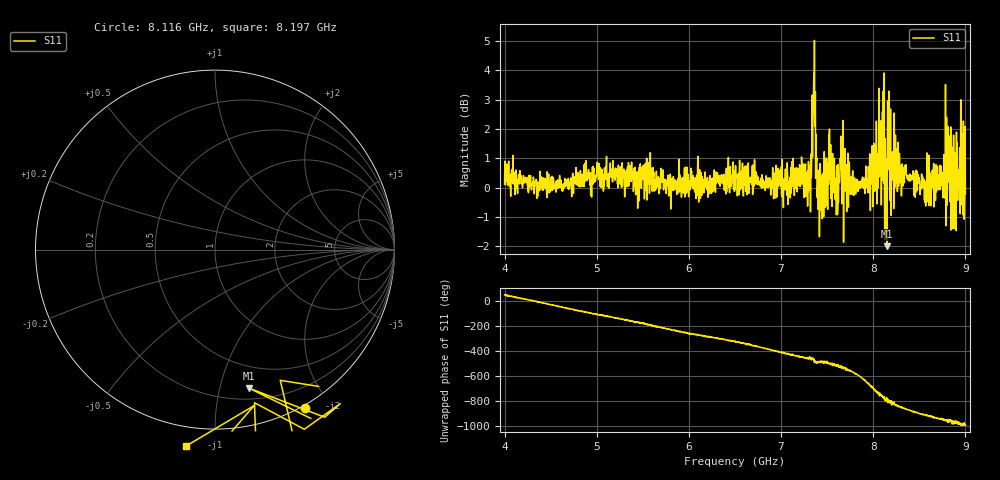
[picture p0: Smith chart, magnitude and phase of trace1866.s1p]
! Created with skrf 1.8.0 (http://scikit-rf.org).
# Hz S RI R 50.0
!freq ReS11 ImS11
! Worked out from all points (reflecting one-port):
!   1601 points, 4 GHz to 9 GHz, reference 50 ohm
!   lowest |S11| = -2.0 dB at 8.15 GHz (marker M1), VSWR 8.72, Z = 14.7 - j61.5 ohm
!   phase of S11 starts at 52 deg and turns -1045 deg over the sweep
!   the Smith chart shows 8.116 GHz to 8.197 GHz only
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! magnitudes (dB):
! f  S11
! 4 GHz  0.1
! 4.625 GHz  -0.1
! 5.25 GHz  0.1
! 5.875 GHz  0.1
! 6.5 GHz  -0.1
! 7.125 GHz  0.3
! 7.297 GHz  0.9
! 7.359 GHz  3.2
! 7.375 GHz  0.3
! 7.4 GHz  0.6
! 7.428 GHz  0.2
! 7.512 GHz  0.8
! 7.609 GHz  0.8
! 7.65 GHz  1.8
! 7.75 GHz  0.1
! 7.994 GHz  0.3
! 8.088 GHz  -0.6
! 8.128 GHz  0.8
! 8.15 GHz  -2.0
! 8.181 GHz  1.8
! 8.209 GHz  1.2
! 8.375 GHz  0.3
! 8.578 GHz  -0.1
! 8.766 GHz  1.1
! 8.809 GHz  2.1
! 8.856 GHz  0.2
! 8.956 GHz  0.4
! 9 GHz  -0.2
